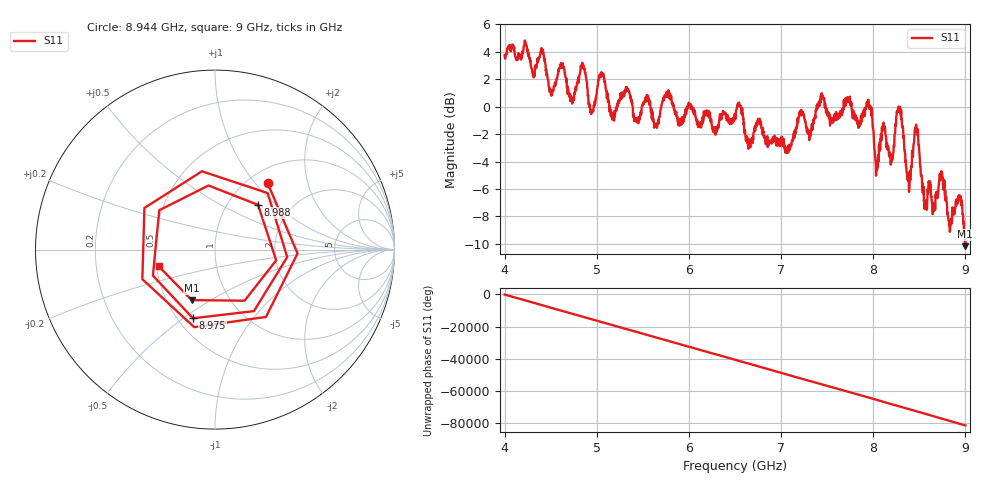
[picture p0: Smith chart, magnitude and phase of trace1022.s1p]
! Created with skrf 1.8.0 (http://scikit-rf.org).
# Hz S RI R 50.0
!freq ReS11 ImS11
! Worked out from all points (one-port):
!   1601 points, 4 GHz to 9 GHz, reference 50 ohm
!   lowest |S11| = -10.2 dB at 8.997 GHz (marker M1), VSWR 1.90, Z = 33.3 - j20.8 ohm
!   |S11| at or under -10 dB: 8.996017 GHz to 8.998059 GHz (2.042 MHz wide, 0.0227 % of centre)
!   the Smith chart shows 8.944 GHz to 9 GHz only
!   S11 on the Smith chart (normalised r, x): 8.944 GHz: 1.22, +1.16; 8.975 GHz: 0.60, -0.54; 8.988 GHz: 1.38, +0.78; 9 GHz: 0.51, -0.11
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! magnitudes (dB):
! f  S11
! 4 GHz  3.7
! 4.409 GHz  4.0
! 4.506 GHz  0.9
! 4.625 GHz  3.0
! 4.728 GHz  0.5
! 4.844 GHz  3.2
! 4.938 GHz  -0.3
! 5.05 GHz  2.3
! 5.162 GHz  -0.6
! 5.25 GHz  0.6
! 5.875 GHz  -0.7
! 6.5 GHz  -0.6
! 7.125 GHz  -2.4
! 7.444 GHz  0.7
! 7.75 GHz  0.2
! 7.959 GHz  0.1
! 8.041 GHz  -4.6
! 8.109 GHz  -1.4
! 8.203 GHz  -3.6
! 8.281 GHz  -0.1
! 8.375 GHz  -5.3
! 8.469 GHz  -1.7
! 8.562 GHz  -7.2
! 8.944 GHz  -6.5
! 8.975 GHz  -7.9
! 8.988 GHz  -9.2
! 8.997 GHz  -10.2
! 9 GHz  -9.7
